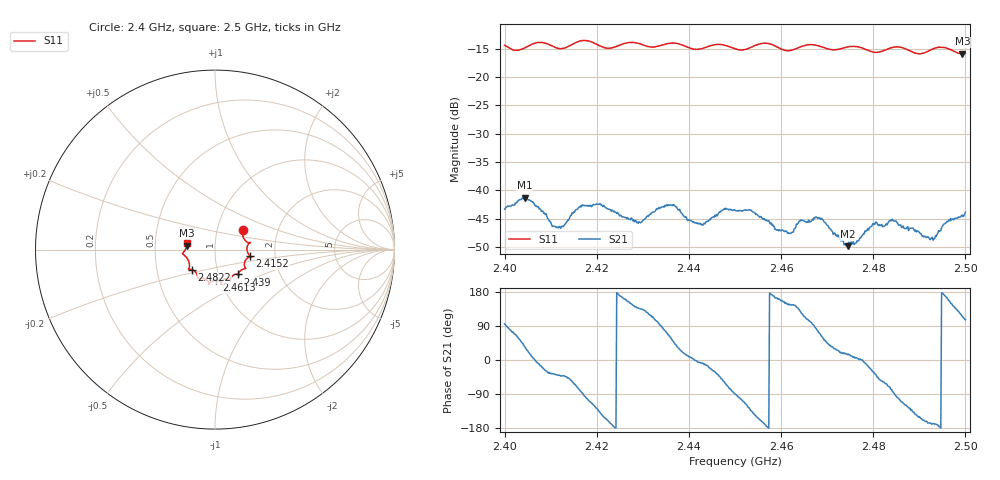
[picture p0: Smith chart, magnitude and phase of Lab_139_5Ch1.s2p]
# Hz S RI R 50
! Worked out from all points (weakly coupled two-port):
!   601 points, 2.4 GHz to 2.5 GHz, reference 50 ohm
!   highest |S21| = -41.30 dB at 2.4043 GHz (marker M1); lowest = -49.9 dB at 2.4745 GHz (marker M2)
!   lowest |S11| = -15.9 dB at 2.4993 GHz (marker M3), VSWR 1.38, Z = 36.3 + j1.64 ohm
!   |S11| at or under -10 dB: start of sweep to end of sweep
!   S12 and S22 are empty: the file has one direction only
!   S11 on the Smith chart (normalised r, x): 2.4 GHz: 1.33, +0.30; 2.4152 GHz: 1.48, -0.11; 2.439 GHz: 1.24, -0.35; 2.4613 GHz: 0.96, -0.34; 2.4822 GHz: 0.76, -0.17; 2.5 GHz: 0.73, +0.05
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2.4e9  0.1548 0.1106  -0.000627 0.00677  0 0  0 0
2.404333e9  0.1746 0.0448  0.00699 0.00502  0 0  0 0
2.410833e9  0.182 0.0235  0.00383 -0.00293  0 0  0 0
2.415167e9  0.1953 -0.0364  0.00274 -0.00577  0 0  0 0
2.416667e9  0.2048 -0.0423  0.000672 -0.00712  0 0  0 0
2.420667e9  0.1825 -0.0462  -0.00564 -0.00512  0 0  0 0
2.429167e9  0.1663 -0.1064  -0.00379 0.00367  0 0  0 0
2.433333e9  0.1318 -0.1327  -0.001 0.00679  0 0  0 0
2.4365e9  0.1346 -0.1471  0.0047 0.00562  0 0  0 0
2.439e9  0.1277 -0.1383  0.00559 0.00174  0 0  0 0
2.443e9  0.0907 -0.1542  0.00484 -0.000764  0 0  0 0
2.45e9  0.0684 -0.1636  4.2e-05 -0.00666  0 0  0 0
2.461333e9  0.00765 -0.1703  -0.00357 0.00228  0 0  0 0
2.466667e9  -0.0332 -0.19  -0.000742 0.00539  0 0  0 0
2.468667e9  -0.0344 -0.1819  0.00236 0.00501  0 0  0 0
2.4745e9  -0.0894 -0.1612  0.00312 0.000769  0 0  0 0
2.480333e9  -0.1094 -0.1235  0.004 -0.00298  0 0  0 0
2.482167e9  -0.1282 -0.1121  0.00256 -0.00402  0 0  0 0
2.483333e9  -0.1396 -0.1104  0.00182 -0.00496  0 0  0 0
2.492833e9  -0.1737 -0.0284  -0.00376 -0.000756  0 0  0 0
2.499333e9  -0.1586 0.022  -0.00256 0.00546  0 0  0 0
2.5e9  -0.158 0.0341  -0.0018 0.00614  0 0  0 0
